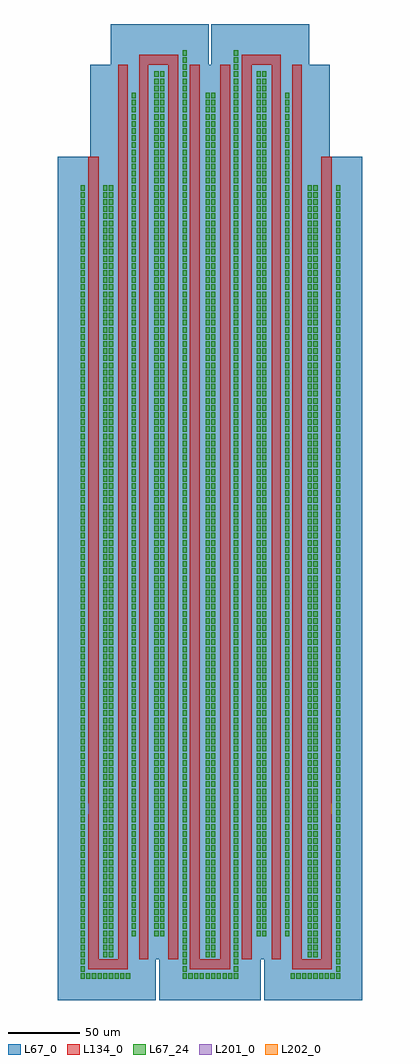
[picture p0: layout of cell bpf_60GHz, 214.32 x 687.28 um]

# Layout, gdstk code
from math import pi, radians
import gdstk
lib = gdstk.Library(unit=1e-6, precision=1e-09)
def R(c, l, rs):  # rectangles x0, y0, x1, y1
    for r in rs: c.add(gdstk.rectangle(r[:2], r[2:], *l))
L67_0 = (67, 0)
L67_24 = (67, 24)
L134_0 = (134, 0)
L201_0 = (201, 0)
L202_0 = (202, 0)

straight_gdsfactorypcomp = lib.new_cell('straight_gdsfactorypcomponentspwaveguidespstraight_L0_N_314f84cf')

c_straight_gdsfactorypcomp = lib.new_cell('straight_gdsfactorypcomponentspwaveguidespstraight_L0_N_18075a77')

tline_l0_scstopmetal2_ro = lib.new_cell('tline_L0_SCStopmetal2_routing_GCSmetal5_routing_WNone_Z50_N2')
tline_l0_scstopmetal2_ro.add(gdstk.Reference(straight_gdsfactorypcomp, (0,0)))
tline_l0_scstopmetal2_ro.add(gdstk.Reference(c_straight_gdsfactorypcomp, (0,0)))

c_straight_gdsfactorypcomp_ = lib.new_cell('straight_gdsfactorypcomponentspwaveguidespstraight_L564_cf52d864')
R(c_straight_gdsfactorypcomp_, L134_0, [(0,-3.6,564.88,3.6)])

c_straight_gdsfactorypcomp__ = lib.new_cell('straight_gdsfactorypcomponentspwaveguidespstraight_L564_3f046f5c')
R(c_straight_gdsfactorypcomp__, L67_0, [(0,-25.2,564.88,25.2)])

tline_l564p88_scstopmeta = lib.new_cell('tline_L564p88_SCStopmetal2_routing_GCSmetal5_routing_WN_25bad069')
tline_l564p88_scstopmeta.add(gdstk.Reference(c_straight_gdsfactorypcomp_, (0,0)))
tline_l564p88_scstopmeta.add(gdstk.Reference(c_straight_gdsfactorypcomp__, (0,0)))

coupler_tline_z67p939468 = lib.new_cell('coupler_tline_Z67p93946885798206_Z39p914512775992414_L6_a1b2567d')
R(coupler_tline_z67p939468, L67_0, [(0,-30.44,629.68,30.44)])
R(coupler_tline_z67p939468, L134_0, [(0,-10.61,629.68,-4), (0,4,629.68,10.61)])

rectangle_gdsfactorypcom = lib.new_cell('rectangle_gdsfactorypcomponentspshapesprectangle_S7p2_7_2a688ad3')
R(rectangle_gdsfactorypcom, L134_0, [(0,0,7.2,7.2)])

unnamed_16 = lib.new_cell('Unnamed_16')
R(unnamed_16, L67_0, [(0,0,50.4,50.4)])

c__corner_rectangle_w7p2_l = lib.new_cell('_corner_rectangle_W7p2_L7p2_SCStopmetal2_routing_GCSmet_6323a6bc')
c__corner_rectangle_w7p2_l.add(gdstk.Reference(rectangle_gdsfactorypcom, (0,0)))
c__corner_rectangle_w7p2_l.add(gdstk.Reference(unnamed_16, (-21.6,-21.6)))

c_straight_gdsfactorypcomp___ = lib.new_cell('straight_gdsfactorypcomponentspwaveguidespstraight_L13p_8a9a55cb')
R(c_straight_gdsfactorypcomp___, L134_0, [(0,-3.6,13.81,3.6)])

c_straight_gdsfactorypcomp____ = lib.new_cell('straight_gdsfactorypcomponentspwaveguidespstraight_L13p_9e3817ef')
R(c_straight_gdsfactorypcomp____, L67_0, [(0,-25.2,13.81,25.2)])

tline_l13p81_scstopmetal = lib.new_cell('tline_L13p81_SCStopmetal2_routing_GCSmetal5_routing_WNone_Z50_N2')
tline_l13p81_scstopmetal.add(gdstk.Reference(c_straight_gdsfactorypcomp___, (0,0)))
tline_l13p81_scstopmetal.add(gdstk.Reference(c_straight_gdsfactorypcomp____, (0,0)))

c_rectangle_gdsfactorypcom = lib.new_cell('rectangle_gdsfactorypcomponentspshapesprectangle_S6p61__e03c47ae')
R(c_rectangle_gdsfactorypcom, L134_0, [(0,0,6.61,7.2)])

unnamed_23 = lib.new_cell('Unnamed_23')
R(unnamed_23, L67_0, [(0,0,46.27,50.4)])

c__corner_rectangle_w7p2_l_ = lib.new_cell('_corner_rectangle_W7p2_L6p61_SCStopmetal2_routing_GCSme_4e32c115')
c__corner_rectangle_w7p2_l_.add(gdstk.Reference(c_rectangle_gdsfactorypcom, (0,0)))
c__corner_rectangle_w7p2_l_.add(gdstk.Reference(unnamed_23, (-19.83,-21.6)))

coupler_tline_z52p931014 = lib.new_cell('coupler_tline_Z52p931014405115995_Z47p37741073241804_L6_f33e92c7')
R(coupler_tline_z52p931014, L67_0, [(0,-32.72,629.68,32.72)])
R(coupler_tline_z52p931014, L134_0, [(0,-11.18,629.68,-4), (0,4,629.68,11.18)])

c_straight_gdsfactorypcomp_____ = lib.new_cell('straight_gdsfactorypcomponentspwaveguidespstraight_L13p_e9e2e518')
R(c_straight_gdsfactorypcomp_____, L134_0, [(0,-3.6,13.79,3.6)])

c_straight_gdsfactorypcomp______ = lib.new_cell('straight_gdsfactorypcomponentspwaveguidespstraight_L13p_17c76902')
R(c_straight_gdsfactorypcomp______, L67_0, [(0,-25.2,13.79,25.2)])

tline_l13p79_scstopmetal = lib.new_cell('tline_L13p79_SCStopmetal2_routing_GCSmetal5_routing_WNone_Z50_N2')
tline_l13p79_scstopmetal.add(gdstk.Reference(c_straight_gdsfactorypcomp_____, (0,0)))
tline_l13p79_scstopmetal.add(gdstk.Reference(c_straight_gdsfactorypcomp______, (0,0)))

c_rectangle_gdsfactorypcom_ = lib.new_cell('rectangle_gdsfactorypcomponentspshapesprectangle_S7p18__fccea4ce')
R(c_rectangle_gdsfactorypcom_, L134_0, [(0,0,7.18,7.2)])

unnamed_34 = lib.new_cell('Unnamed_34')
R(unnamed_34, L67_0, [(0,0,50.26,50.4)])

c__corner_rectangle_w7p2_l__ = lib.new_cell('_corner_rectangle_W7p2_L7p18_SCStopmetal2_routing_GCSme_c607def9')
c__corner_rectangle_w7p2_l__.add(gdstk.Reference(c_rectangle_gdsfactorypcom_, (0,0)))
c__corner_rectangle_w7p2_l__.add(gdstk.Reference(unnamed_34, (-21.54,-21.6)))

c_straight_gdsfactorypcomp_______ = lib.new_cell('straight_gdsfactorypcomponentspwaveguidespstraight_L14p_55089f7c')
R(c_straight_gdsfactorypcomp_______, L134_0, [(0,-3.6,14.36,3.6)])

c_straight_gdsfactorypcomp________ = lib.new_cell('straight_gdsfactorypcomponentspwaveguidespstraight_L14p_3910300b')
R(c_straight_gdsfactorypcomp________, L67_0, [(0,-25.2,14.36,25.2)])

tline_l14p36_scstopmetal = lib.new_cell('tline_L14p36_SCStopmetal2_routing_GCSmetal5_routing_WNone_Z50_N2')
tline_l14p36_scstopmetal.add(gdstk.Reference(c_straight_gdsfactorypcomp_______, (0,0)))
tline_l14p36_scstopmetal.add(gdstk.Reference(c_straight_gdsfactorypcomp________, (0,0)))

c__slit_ground = lib.new_cell('_slit_ground')
R(c__slit_ground, L67_24, [(1.1,1.1,4,5)])

hairpin_coupled_line_ban = lib.new_cell('hairpin_coupled_line_bandpass_filter_O3_F60000000000_B3_5a7f3554')
hairpin_coupled_line_ban.add(gdstk.Reference(tline_l0_scstopmetal2_ro, (0,0)))
hairpin_coupled_line_ban.add(gdstk.Reference(tline_l564p88_scstopmeta, (3.6,459.05), rotation=3*pi/2))
hairpin_coupled_line_ban.add(gdstk.Reference(coupler_tline_z67p939468, (31.62,523.85), rotation=3*pi/2))
hairpin_coupled_line_ban.add(gdstk.Reference(c__corner_rectangle_w7p2_l, (0,-113.03)))
hairpin_coupled_line_ban.add(gdstk.Reference(tline_l13p81_scstopmetal, (7.2,-109.43)))
hairpin_coupled_line_ban.add(gdstk.Reference(c__corner_rectangle_w7p2_l_, (21.01,-113.03)))
hairpin_coupled_line_ban.add(gdstk.Reference(coupler_tline_z52p931014, (67.2,523.85), rotation=3*pi/2))
hairpin_coupled_line_ban.add(gdstk.Reference(c__corner_rectangle_w7p2_l_, (35.62,523.85)))
hairpin_coupled_line_ban.add(gdstk.Reference(tline_l13p79_scstopmetal, (42.23,527.45)))
hairpin_coupled_line_ban.add(gdstk.Reference(c__corner_rectangle_w7p2_l__, (56.02,523.85)))
hairpin_coupled_line_ban.add(gdstk.Reference(coupler_tline_z52p931014, (103.92,523.85), rotation=3*pi/2))
hairpin_coupled_line_ban.add(gdstk.Reference(c__corner_rectangle_w7p2_l__, (71.2,-113.03)))
hairpin_coupled_line_ban.add(gdstk.Reference(tline_l14p36_scstopmetal, (78.38,-109.43)))
hairpin_coupled_line_ban.add(gdstk.Reference(c__corner_rectangle_w7p2_l__, (92.74,-113.03)))
hairpin_coupled_line_ban.add(gdstk.Reference(coupler_tline_z67p939468, (139.5,523.85), rotation=3*pi/2))
hairpin_coupled_line_ban.add(gdstk.Reference(c__corner_rectangle_w7p2_l__, (107.92,523.85)))
hairpin_coupled_line_ban.add(gdstk.Reference(tline_l13p79_scstopmetal, (115.1,527.45)))
hairpin_coupled_line_ban.add(gdstk.Reference(c__corner_rectangle_w7p2_l_, (128.89,523.85)))
hairpin_coupled_line_ban.add(gdstk.Reference(c__corner_rectangle_w7p2_l_, (143.5,-113.03)))
hairpin_coupled_line_ban.add(gdstk.Reference(tline_l13p81_scstopmetal, (150.11,-109.43)))
hairpin_coupled_line_ban.add(gdstk.Reference(c__corner_rectangle_w7p2_l, (163.92,-113.03)))
hairpin_coupled_line_ban.add(gdstk.Reference(tline_l564p88_scstopmeta, (167.52,459.05), rotation=3*pi/2, x_reflection=True))
hairpin_coupled_line_ban.add(gdstk.Reference(tline_l0_scstopmetal2_ro, (171.12,0)))
r = gdstk.Reference(c__slit_ground, (9.3,-105.73)); r.repetition = gdstk.Repetition(2, 63, v1=(4,0), v2=(0,5)); hairpin_coupled_line_ban.add(r)
r = gdstk.Reference(c__slit_ground, (-6.7,-120.73)); r.repetition = gdstk.Repetition(1, 66, v1=(0,0), v2=(0,5)); hairpin_coupled_line_ban.add(r)
r = gdstk.Reference(c__slit_ground, (-2.7,-120.73)); r.repetition = gdstk.Repetition(8, 1, v1=(4,0), v2=(0,0)); hairpin_coupled_line_ban.add(r)
r = gdstk.Reference(c__slit_ground, (29.3,-90.73)); r.repetition = gdstk.Repetition(1, 60, v1=(0,0), v2=(0,5)); hairpin_coupled_line_ban.add(r)
r = gdstk.Reference(c__slit_ground, (45.3,-90.73)); r.repetition = gdstk.Repetition(2, 60, v1=(4,0), v2=(0,5)); hairpin_coupled_line_ban.add(r)
r = gdstk.Reference(c__slit_ground, (81.3,-105.73)); r.repetition = gdstk.Repetition(2, 63, v1=(4,0), v2=(0,5)); hairpin_coupled_line_ban.add(r)
r = gdstk.Reference(c__slit_ground, (65.3,-120.73)); r.repetition = gdstk.Repetition(1, 66, v1=(0,0), v2=(0,5)); hairpin_coupled_line_ban.add(r)
r = gdstk.Reference(c__slit_ground, (69.3,-120.73)); r.repetition = gdstk.Repetition(9, 1, v1=(4,0), v2=(0,0)); hairpin_coupled_line_ban.add(r)
r = gdstk.Reference(c__slit_ground, (101.3,-115.73)); r.repetition = gdstk.Repetition(1, 65, v1=(0,0), v2=(0,5)); hairpin_coupled_line_ban.add(r)
r = gdstk.Reference(c__slit_ground, (117.3,-90.73)); r.repetition = gdstk.Repetition(2, 60, v1=(4,0), v2=(0,5)); hairpin_coupled_line_ban.add(r)
r = gdstk.Reference(c__slit_ground, (153.3,-105.73)); r.repetition = gdstk.Repetition(2, 63, v1=(4,0), v2=(0,5)); hairpin_coupled_line_ban.add(r)
r = gdstk.Reference(c__slit_ground, (137.3,-90.73)); r.repetition = gdstk.Repetition(1, 60, v1=(0,0), v2=(0,5)); hairpin_coupled_line_ban.add(r)
r = gdstk.Reference(c__slit_ground, (141.3,-120.73)); r.repetition = gdstk.Repetition(9, 1, v1=(4,0), v2=(0,0)); hairpin_coupled_line_ban.add(r)
r = gdstk.Reference(c__slit_ground, (173.3,-115.73)); r.repetition = gdstk.Repetition(1, 65, v1=(0,0), v2=(0,5)); hairpin_coupled_line_ban.add(r)
r = gdstk.Reference(c__slit_ground, (-6.7,209.27)); r.repetition = gdstk.Repetition(1, 46, v1=(0,0), v2=(0,5)); hairpin_coupled_line_ban.add(r)
r = gdstk.Reference(c__slit_ground, (173.3,209.27)); r.repetition = gdstk.Repetition(1, 46, v1=(0,0), v2=(0,5)); hairpin_coupled_line_ban.add(r)
r = gdstk.Reference(c__slit_ground, (9.3,209.27)); r.repetition = gdstk.Repetition(2, 46, v1=(4,0), v2=(0,5)); hairpin_coupled_line_ban.add(r)
r = gdstk.Reference(c__slit_ground, (81.3,209.27)); r.repetition = gdstk.Repetition(2, 59, v1=(4,0), v2=(0,5)); hairpin_coupled_line_ban.add(r)
r = gdstk.Reference(c__slit_ground, (153.3,209.27)); r.repetition = gdstk.Repetition(2, 46, v1=(4,0), v2=(0,5)); hairpin_coupled_line_ban.add(r)
r = gdstk.Reference(c__slit_ground, (45.3,209.27)); r.repetition = gdstk.Repetition(2, 62, v1=(4,0), v2=(0,5)); hairpin_coupled_line_ban.add(r)
r = gdstk.Reference(c__slit_ground, (117.3,209.27)); r.repetition = gdstk.Repetition(2, 62, v1=(4,0), v2=(0,5)); hairpin_coupled_line_ban.add(r)
r = gdstk.Reference(c__slit_ground, (29.3,209.27)); r.repetition = gdstk.Repetition(1, 59, v1=(0,0), v2=(0,5)); hairpin_coupled_line_ban.add(r)
r = gdstk.Reference(c__slit_ground, (65.3,209.27)); r.repetition = gdstk.Repetition(1, 65, v1=(0,0), v2=(0,5)); hairpin_coupled_line_ban.add(r)
r = gdstk.Reference(c__slit_ground, (101.3,209.27)); r.repetition = gdstk.Repetition(1, 65, v1=(0,0), v2=(0,5)); hairpin_coupled_line_ban.add(r)
r = gdstk.Reference(c__slit_ground, (137.3,209.27)); r.repetition = gdstk.Repetition(1, 59, v1=(0,0), v2=(0,5)); hairpin_coupled_line_ban.add(r)

c_rectangle_gdsfactorypcom__ = lib.new_cell('rectangle_gdsfactorypcomponentspshapesprectangle_S0p1_7_a4c304ac')
R(c_rectangle_gdsfactorypcom__, L201_0, [(0,0,0.1,7.2)])

c_rectangle_gdsfactorypcom___ = lib.new_cell('rectangle_gdsfactorypcomponentspshapesprectangle_S0p1_7_f59edcc8')
R(c_rectangle_gdsfactorypcom___, L202_0, [(0,0,0.1,7.2)])

bpf_60ghz = lib.new_cell('bpf_60GHz')
bpf_60ghz.add(gdstk.Reference(hairpin_coupled_line_ban, (0,0)))
bpf_60ghz.add(gdstk.Reference(c_rectangle_gdsfactorypcom__, (0,-3.6)))
bpf_60ghz.add(gdstk.Reference(c_rectangle_gdsfactorypcom___, (171.02,-3.6)))

lib.write_gds('bpf_60GHz.gds')
